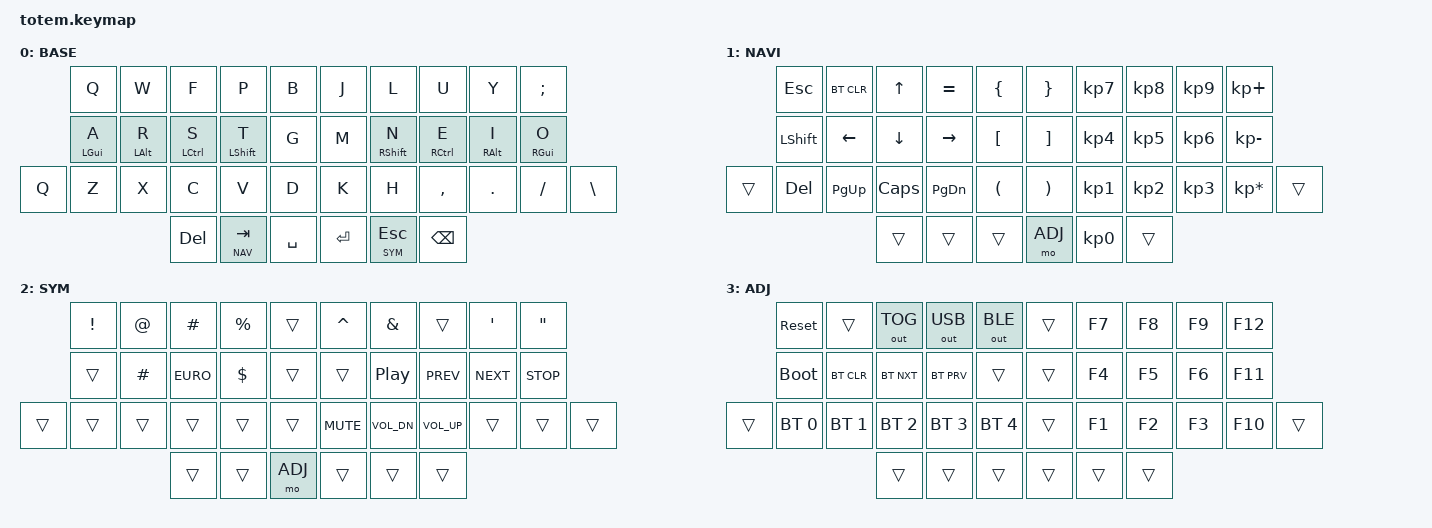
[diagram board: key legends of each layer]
//
//                                                        ▀▀▀▀▀     ▀▀▀▀▀          ▀▀█▀▀
//                                                        ▄▀▀▀▄  ▄  ▄▀▀▀▄  ▄  ▄▀▀▀▄  █  ▄▀▀▀▄
//                                                        █   █  █  █   █  █  █   █  █  █   █
//                                                         ▀▀▀   █   ▀▀▀   █   ▀▀▀   ▀   ▀▀▀
//                                                               █      ▄▄▄█▄▄▄    █   █  
//                                                               ▀      █  █  █     █▄█
//                                                             ▀▀▀▀▀    █  █  █      ▀
//                                                                      ▀  ▀  ▀
//
// ▄▄▄▄▄▄▄▄▄▄▄▄▄▄▄▄▄▄▄▄▄▄▄▄▄▄▄▄▄▄▄▄▄▄▄▄▄▄▄▄▄▄▄▄▄▄▄▄▄▄▄▄▄▄▄▄▄▄▄▄▄▄▄▄▄▄▄▄▄▄▄▄▄▄▄▄▄▄▄▄▄▄▄▄▄▄▄▄▄▄▄▄▄▄▄▄▄▄▄▄▄▄▄▄▄▄▄▄▄▄▄▄▄▄▄▄▄▄▄▄▄▄▄▄▄▄▄▄▄▄▄▄▄▄▄▄▄▄▄▄▄▄▄▄▄▄▄▄▄
       

#include <behaviors.dtsi>
#include <dt-bindings/zmk/keys.h>
#include <dt-bindings/zmk/bt.h>
#include <dt-bindings/zmk/outputs.h>

#define BASE 0
#define NAV  1
#define SYM  2
#define ADJ  3

&mt {
  quick-tap-ms = <100>;
  global-quick-tap;
  flavor = "tap-preferred";
  tapping-term-ms = <170>;
};

/ {
    combos {
        compatible = "zmk,combos";
        combo_esc {
            timeout-ms = <50>;
            key-positions = <0 1>;
            bindings = <&kp ESC>;
        };
    };

//    macros {
//        gif: gif {
//            label = "giphy";
//            compatible = "zmk,behavior-macro";
//            #binding-cells = <0>;
//            bindings
//                = <&macro_press &kp LSHFT>
//                , <&macro_tap &kp N2>
//                , <&macro_release &kp LSHFT>
//                , <&macro_tap &kp G &kp I &kp F>
//                ;
//        };
//    };

    keymap {
        compatible = "zmk,keymap";

        base_layer {
            label = "BASE";
            bindings = <
                            &kp Q       &kp W       &kp F       &kp P       &kp B           &kp J       &kp L       &kp U       &kp Y       &kp SEMI
                            &mt LGUI A  &mt LALT R  &mt LCTRL S &mt LSHFT T &kp G            &kp M      &mt RSHFT N &mt RCTRL E &mt RALT I  &mt RGUI O
                &kp Q       &kp Z       &kp X       &kp C       &kp V       &kp D           &kp K       &kp H       &kp COMMA   &kp DOT     &kp FSLH    &kp BSLH
                                                    &kp DEL     &lt NAV TAB &kp SPACE       &kp RET     &lt SYM ESC &kp BSPC
            >;
        };

        nav_layer {
            label = "NAVI";
            bindings = <
                            &kp ESC     &bt BT_CLR  &kp UP      &kp EQUAL   &kp LBRC        &kp RBRC    &kp KP_N7   &kp KP_N8   &kp KP_N9   &kp KP_PLUS
                            &kp LSHFT   &kp LEFT    &kp DOWN    &kp RIGHT   &kp LBKT        &kp RBKT    &kp KP_N4   &kp KP_N5   &kp KP_N6   &kp KP_MINUS
                &trans      &kp DEL     &kp PG_UP   &kp CAPS    &kp PG_DN   &kp LPAR        &kp RPAR    &kp KP_N1   &kp KP_N2   &kp KP_N3   &kp KP_MULTIPLY &trans
                                                    &trans      &trans      &trans          &mo ADJ     &kp KP_N0   &trans
            >;
        };

//        sim_layer {
//            label = "SYM";
//            bindings = <
//                            &kp EXCL    &kp AT      &kp HASH    &trans      &kp PRCNT       &kp CARET   &kp AMPS    &trans      &kp SQT      &kp DQT
//                            &trans      &kp POUND   &kp EURO    &kp DLLR    &trans          &trans      &kp C_PP    &kp C_PREV  &kp C_NEXT   &kp C_STOP
//                &trans      &trans      &trans      &trans      &trans      &trans          &kp C_MUTE  &kp C_VOL_DN &kp C_VOL_UP &trans    &kp BSLH    &trans
//                                                    &trans      &trans      &mo ADJ         &trans      &kp C_PP    &trans
//            >;
//        };

        sym_layer {
            label = "SYM";
            bindings = <
                              &kp EXCL    &kp AT      &kp HASH    &kp PRCNT   &trans          &kp CARET   &kp AMPS     &trans       &kp SQT      &kp DQT
                              &trans      &kp POUND   &kp EURO    &kp DLLR    &trans          &trans      &kp C_PP     &kp C_PREV   &kp C_NEXT   &kp C_STOP
                  &trans      &trans      &trans      &trans      &trans      &trans          &kp C_MUTE  &kp C_VOL_DN &kp C_VOL_UP &trans       &trans     &trans
                                                      &trans      &trans      &mo ADJ         &trans      &trans       &trans
            >;
        };

        adjust_layer {
            label = "ADJ";
            bindings = <
                            &sys_reset   &trans       &out OUT_TOG &out OUT_USB &out OUT_BLE    &trans      &kp F7      &kp F8      &kp F9      &kp F12
                            &bootloader  &bt BT_CLR   &bt BT_NXT   &bt BT_PRV   &trans          &trans      &kp F4      &kp F5      &kp F6      &kp F11
                &trans      &bt BT_SEL 0 &bt BT_SEL 1 &bt BT_SEL 2 &bt BT_SEL 3 &bt BT_SEL 4    &trans      &kp F1      &kp F2      &kp F3      &kp F10     &trans
                                                      &trans       &trans       &trans          &trans      &trans      &trans
            >;
        };
    };
};
